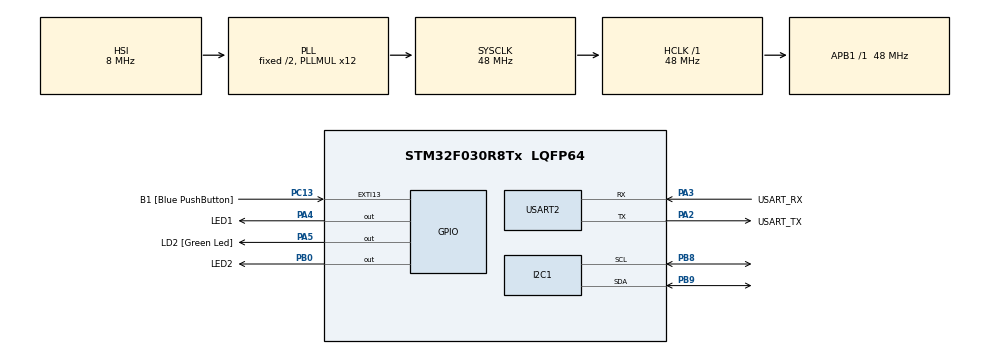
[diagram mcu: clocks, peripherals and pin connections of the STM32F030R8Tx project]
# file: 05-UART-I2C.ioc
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Dma.Request0=USART2_RX
Dma.USART2_RX.0.Direction=DMA_PERIPH_TO_MEMORY
Dma.USART2_RX.0.Instance=DMA1_Channel5
Dma.USART2_RX.0.MemDataAlignment=DMA_MDATAALIGN_BYTE
Dma.USART2_RX.0.MemInc=DMA_MINC_ENABLE
Dma.USART2_RX.0.Mode=DMA_CIRCULAR
Dma.USART2_RX.0.PeriphDataAlignment=DMA_PDATAALIGN_BYTE
Dma.USART2_RX.0.PeriphInc=DMA_PINC_DISABLE
Dma.USART2_RX.0.Priority=DMA_PRIORITY_LOW
I2C1.Timing=0x00201D2B
Mcu.Family=STM32F0
Mcu.Name=STM32F030R8Tx
Mcu.Package=LQFP64
NVIC.DMA1_Channel4_5_IRQn=true\:0\:0\:false\:false\:true\:false\:true\:true
PA13.GPIO_Label=TMS
PA13.Mode=Serial_Wire
PA13.Signal=SYS_SWDIO
PA14.GPIO_Label=TCK
PA14.Mode=Serial_Wire
PA14.Signal=SYS_SWCLK
PA2.GPIO_Label=USART_TX
PA2.GPIO_Mode=GPIO_MODE_AF_PP
PA2.GPIO_PuPd=GPIO_NOPULL
PA2.GPIO_Speed=GPIO_SPEED_FREQ_LOW
PA2.Mode=Asynchronous
PA2.Signal=USART2_TX
PA3.GPIO_Label=USART_RX
PA3.GPIO_Mode=GPIO_MODE_AF_PP
PA3.GPIO_PuPd=GPIO_NOPULL
PA3.GPIO_Speed=GPIO_SPEED_FREQ_LOW
PA3.Mode=Asynchronous
PA3.Signal=USART2_RX
PA4.GPIO_Label=LED1
PA4.Signal=GPIO_Output
PA5.GPIO_Label=LD2 [Green Led]
PA5.GPIO_Mode=GPIO_MODE_OUTPUT_PP
PA5.GPIO_PuPd=GPIO_NOPULL
PA5.GPIO_Speed=GPIO_SPEED_FREQ_LOW
PA5.Signal=GPIO_Output
PB0.GPIO_Label=LED2
PB0.Signal=GPIO_Output
PB8.Mode=I2C
PB8.Signal=I2C1_SCL
PB9.Mode=I2C
PB9.Signal=I2C1_SDA
PC13.GPIO_Label=B1 [Blue PushButton]
PC13.GPIO_ModeDefaultEXTI=GPIO_MODE_IT_FALLING
PC13.Signal=GPXTI13
PC14-OSC32_IN.Mode=LSE-External-Oscillator
PC14-OSC32_IN.Signal=RCC_OSC32_IN
PC15-OSC32_OUT.Mode=LSE-External-Oscillator
PC15-OSC32_OUT.Signal=RCC_OSC32_OUT
PF0-OSC_IN.Mode=HSE-External-Clock-Source
PF0-OSC_IN.Signal=RCC_OSC_IN
PF1-OSC_OUT.Signal=RCC_OSC_OUT
ProjectManager.HeapSize=0x200
ProjectManager.StackSize=0x400
ProjectManager.TargetToolchain=STM32CubeIDE
RCC.AHBFreq_Value=48000000
RCC.APB1Freq_Value=48000000
RCC.APB1TimFreq_Value=48000000
RCC.HCLKFreq_Value=48000000
RCC.PLLMUL=RCC_PLL_MUL12
RCC.SYSCLKFreq_VALUE=48000000
RCC.SYSCLKSource=RCC_SYSCLKSOURCE_PLLCLK
USART2.VirtualMode-Asynchronous=VM_ASYNC
board=NUCLEO-F030R8

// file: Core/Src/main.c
/* USER CODE BEGIN Header */
/**
  ******************************************************************************
  * @file           : main.c
  * @brief          : Main program body
  ******************************************************************************
  * @attention
  *
  * Copyright (c) 2024 STMicroelectronics.
  * All rights reserved.
  *
  * This software is licensed under terms that can be found in the LICENSE file
  * in the root directory of this software component.
  * If no LICENSE file comes with this software, it is provided AS-IS.
  *
  ******************************************************************************
  */
/* USER CODE END Header */
#include "main.h"

/* USER CODE BEGIN Includes */

#include <string.h>
#include <stdio.h>

/* USER CODE END Includes */

I2C_HandleTypeDef hi2c1;

UART_HandleTypeDef huart2;
DMA_HandleTypeDef hdma_usart2_rx;

/* USER CODE BEGIN PV */
#define RX_BUFFER_LEN 64	//how much memory to allocate for circular DMA buffer
#define CMD_BUFFER_LEN 128
static uint8_t uart_rx_buf[RX_BUFFER_LEN];	//array that represents that buffer
static volatile uint16_t uart_rx_read_ptr = 0;	//initialize it to zero in DMA memory (so it starts at start), volatile - it will be used internally for different context
#define uart_rx_write_ptr (RX_BUFFER_LEN - hdma_usart2_rx.Instance->CNDTR)	//locates where was the last point written by DMA

#define EEPROM_ADDR 0xA0

/* USER CODE END PV */

void SystemClock_Config(void);
static void MX_GPIO_Init(void);
static void MX_DMA_Init(void);
static void MX_USART2_UART_Init(void);
static void MX_I2C1_Init(void);

/* USER CODE BEGIN 0 */

static void uart_process_command(char *cmd)
{
	//printf("%s\n", cmd);

	char *token;
	uint8_t valueR = 0;
	uint8_t valueW = 0;
	uint16_t addr = 0;

	token = strtok(cmd, " ");

	if (strcasecmp(token, "HELLO") == 0)
	{
		printf("Communication OK\n");
	}

	else if (strcasecmp(token, "LED1") == 0)
	{
		token = strtok(NULL, " ");
		if (strcasecmp(token, "ON") == 0)
		{
			HAL_GPIO_WritePin(LED1_GPIO_Port, LED1_Pin, SET);
		}
		else if (strcasecmp(token, "OFF") == 0)
		{
			HAL_GPIO_WritePin(LED1_GPIO_Port, LED1_Pin, RESET);
		}
		printf("OK\n");
	}

	else if (strcasecmp(token, "LED2") == 0)
	{
		token = strtok(NULL, " ");
		if (strcasecmp(token, "ON") == 0)
		{
			HAL_GPIO_WritePin(LED2_GPIO_Port, LED2_Pin, SET);
		}
		else if (strcasecmp(token, "OFF") == 0)
		{
			HAL_GPIO_WritePin(LED2_GPIO_Port, LED2_Pin, RESET);
		}
		printf("OK\n");
	}

	else if (strcasecmp(token, "READ") == 0)
	{
		token = strtok(NULL, " ");
		addr = atoi(token);

		HAL_I2C_Mem_Read(&hi2c1, EEPROM_ADDR, addr, I2C_MEMADD_SIZE_16BIT, &valueR, 1, 1000);

		while (HAL_I2C_IsDeviceReady(&hi2c1, EEPROM_ADDR, 300, 1000) == HAL_TIMEOUT){}

		printf("Address 0x%.4x = 0x%.2x \n", addr, valueR);
	}

	else if (strcasecmp(token, "WRITE") == 0)
	{
		token = strtok(NULL, " ");
		addr = atoi(token);

		token = strtok(NULL, " ");
		valueW = atoi(token);

		printf("writing %d to memory address %.4x\n", valueW, addr);

		HAL_I2C_Mem_Write(&hi2c1, EEPROM_ADDR, addr, I2C_MEMADD_SIZE_16BIT, &valueW, 1, 1000);

		while (HAL_I2C_IsDeviceReady(&hi2c1, EEPROM_ADDR, 300, 1000) == HAL_TIMEOUT){}

		printf("OK\n");
	}

	else if (strcasecmp(token, "DUMP") == 0)
	{
		for (uint8_t i = 0; i < 16; i++)
		{
			HAL_I2C_Mem_Read(&hi2c1, EEPROM_ADDR, i, I2C_MEMADD_SIZE_16BIT, &valueR, 1, 1000);
			printf("%.2X ", valueR);

			if (i == 7)	printf("\n");
		}
		printf("\n");
	}

	else if (strcasecmp(token, "STATUS") == 0)
	{
		printf("LED1 status: %d  LED2 status: %d \n", HAL_GPIO_ReadPin(LED1_GPIO_Port, LED1_Pin), HAL_GPIO_ReadPin(LED2_GPIO_Port, LED2_Pin));
	}

}

static void uart_byte_available(uint8_t c)
{
	 static uint16_t cnt;
	 static char data[CMD_BUFFER_LEN];

	 if (cnt < CMD_BUFFER_LEN && c >= 32 && c <= 126) data[cnt++] = c;

	 if ((c == '\n' || c == '\r') && cnt > 0) {
		 data[cnt] = '\0';
		 uart_process_command(data);
		 cnt = 0;
	 }
}

/* USER CODE END 0 */

int main(void)
{

  /* MCU Configuration--------------------------------------------------------*/

  /* Reset of all peripherals, Initializes the Flash interface and the Systick. */
  HAL_Init();

  /* Configure the system clock */
  SystemClock_Config();

  /* Initialize all configured peripherals */
  MX_GPIO_Init();
  MX_DMA_Init();
  MX_USART2_UART_Init();
  MX_I2C1_Init();
  /* USER CODE BEGIN 2 */

  HAL_UART_Receive_DMA(&huart2, uart_rx_buf, RX_BUFFER_LEN);	//start the DMA reception

  /* USER CODE END 2 */

  /* Infinite loop */
  /* USER CODE BEGIN WHILE */
  while (1)
  {

	  while (uart_rx_read_ptr != uart_rx_write_ptr) {
		   uint8_t b = uart_rx_buf[uart_rx_read_ptr];
		   // increase read pointer
		   if (++uart_rx_read_ptr >= RX_BUFFER_LEN) uart_rx_read_ptr = 0;
		   // process every received byte with the RX state machine
		   uart_byte_available(b);
	  }

	  //uint8_t c;
	  //HAL_UART_Receive(&huart2, &c, 1, HAL_MAX_DELAY);
	  //HAL_UART_Transmit(&huart2, &c, 1, HAL_MAX_DELAY);

    /* USER CODE END WHILE */

  }
}

void SystemClock_Config(void)
{
  RCC_OscInitTypeDef RCC_OscInitStruct = {0};
  RCC_ClkInitTypeDef RCC_ClkInitStruct = {0};
  RCC_PeriphCLKInitTypeDef PeriphClkInit = {0};

  /** Initializes the RCC Oscillators according to the specified parameters
  * in the RCC_OscInitTypeDef structure.
  */
  RCC_OscInitStruct.OscillatorType = RCC_OSCILLATORTYPE_HSI;
  RCC_OscInitStruct.HSIState = RCC_HSI_ON;
  RCC_OscInitStruct.HSICalibrationValue = RCC_HSICALIBRATION_DEFAULT;
  RCC_OscInitStruct.PLL.PLLState = RCC_PLL_ON;
  RCC_OscInitStruct.PLL.PLLSource = RCC_PLLSOURCE_HSI;
  RCC_OscInitStruct.PLL.PLLMUL = RCC_PLL_MUL12;
  RCC_OscInitStruct.PLL.PREDIV = RCC_PREDIV_DIV1;
  if (HAL_RCC_OscConfig(&RCC_OscInitStruct) != HAL_OK)
  {
    Error_Handler();
  }

  /** Initializes the CPU, AHB and APB buses clocks
  */
  RCC_ClkInitStruct.ClockType = RCC_CLOCKTYPE_HCLK|RCC_CLOCKTYPE_SYSCLK
                              |RCC_CLOCKTYPE_PCLK1;
  RCC_ClkInitStruct.SYSCLKSource = RCC_SYSCLKSOURCE_PLLCLK;
  RCC_ClkInitStruct.AHBCLKDivider = RCC_SYSCLK_DIV1;
  RCC_ClkInitStruct.APB1CLKDivider = RCC_HCLK_DIV1;

  if (HAL_RCC_ClockConfig(&RCC_ClkInitStruct, FLASH_LATENCY_1) != HAL_OK)
  {
    Error_Handler();
  }
  PeriphClkInit.PeriphClockSelection = RCC_PERIPHCLK_I2C1;
  PeriphClkInit.I2c1ClockSelection = RCC_I2C1CLKSOURCE_HSI;
  if (HAL_RCCEx_PeriphCLKConfig(&PeriphClkInit) != HAL_OK)
  {
    Error_Handler();
  }
}

static void MX_I2C1_Init(void)
{

  hi2c1.Instance = I2C1;
  hi2c1.Init.Timing = 0x00201D2B;
  hi2c1.Init.OwnAddress1 = 0;
  hi2c1.Init.AddressingMode = I2C_ADDRESSINGMODE_7BIT;
  hi2c1.Init.DualAddressMode = I2C_DUALADDRESS_DISABLE;
  hi2c1.Init.OwnAddress2 = 0;
  hi2c1.Init.OwnAddress2Masks = I2C_OA2_NOMASK;
  hi2c1.Init.GeneralCallMode = I2C_GENERALCALL_DISABLE;
  hi2c1.Init.NoStretchMode = I2C_NOSTRETCH_DISABLE;
  if (HAL_I2C_Init(&hi2c1) != HAL_OK)
  {
    Error_Handler();
  }

  /** Configure Analogue filter
  */
  if (HAL_I2CEx_ConfigAnalogFilter(&hi2c1, I2C_ANALOGFILTER_ENABLE) != HAL_OK)
  {
    Error_Handler();
  }

  /** Configure Digital filter
  */
  if (HAL_I2CEx_ConfigDigitalFilter(&hi2c1, 0) != HAL_OK)
  {
    Error_Handler();
  }

}

static void MX_USART2_UART_Init(void)
{

  huart2.Instance = USART2;
  huart2.Init.BaudRate = 38400;
  huart2.Init.WordLength = UART_WORDLENGTH_8B;
  huart2.Init.StopBits = UART_STOPBITS_1;
  huart2.Init.Parity = UART_PARITY_NONE;
  huart2.Init.Mode = UART_MODE_TX_RX;
  huart2.Init.HwFlowCtl = UART_HWCONTROL_NONE;
  huart2.Init.OverSampling = UART_OVERSAMPLING_16;
  huart2.Init.OneBitSampling = UART_ONE_BIT_SAMPLE_DISABLE;
  huart2.AdvancedInit.AdvFeatureInit = UART_ADVFEATURE_NO_INIT;
  if (HAL_UART_Init(&huart2) != HAL_OK)
  {
    Error_Handler();
  }

}

static void MX_DMA_Init(void)
{

  /* DMA controller clock enable */
  __HAL_RCC_DMA1_CLK_ENABLE();

  /* DMA interrupt init */
  /* DMA1_Channel4_5_IRQn interrupt configuration */
  HAL_NVIC_SetPriority(DMA1_Channel4_5_IRQn, 0, 0);
  HAL_NVIC_EnableIRQ(DMA1_Channel4_5_IRQn);

}

static void MX_GPIO_Init(void)
{
  GPIO_InitTypeDef GPIO_InitStruct = {0};

  /* GPIO Ports Clock Enable */
  __HAL_RCC_GPIOC_CLK_ENABLE();
  __HAL_RCC_GPIOF_CLK_ENABLE();
  __HAL_RCC_GPIOA_CLK_ENABLE();
  __HAL_RCC_GPIOB_CLK_ENABLE();

  /*Configure GPIO pin Output Level */
  HAL_GPIO_WritePin(GPIOA, LED1_Pin|LD2_Pin, GPIO_PIN_RESET);

  /*Configure GPIO pin Output Level */
  HAL_GPIO_WritePin(LED2_GPIO_Port, LED2_Pin, GPIO_PIN_RESET);

  /*Configure GPIO pin : B1_Pin */
  GPIO_InitStruct.Pin = B1_Pin;
  GPIO_InitStruct.Mode = GPIO_MODE_IT_FALLING;
  GPIO_InitStruct.Pull = GPIO_NOPULL;
  HAL_GPIO_Init(B1_GPIO_Port, &GPIO_InitStruct);

  /*Configure GPIO pins : LED1_Pin LD2_Pin */
  GPIO_InitStruct.Pin = LED1_Pin|LD2_Pin;
  GPIO_InitStruct.Mode = GPIO_MODE_OUTPUT_PP;
  GPIO_InitStruct.Pull = GPIO_NOPULL;
  GPIO_InitStruct.Speed = GPIO_SPEED_FREQ_LOW;
  HAL_GPIO_Init(GPIOA, &GPIO_InitStruct);

  /*Configure GPIO pin : LED2_Pin */
  GPIO_InitStruct.Pin = LED2_Pin;
  GPIO_InitStruct.Mode = GPIO_MODE_OUTPUT_PP;
  GPIO_InitStruct.Pull = GPIO_NOPULL;
  GPIO_InitStruct.Speed = GPIO_SPEED_FREQ_LOW;
  HAL_GPIO_Init(LED2_GPIO_Port, &GPIO_InitStruct);

}

/* USER CODE BEGIN 4 */

//defining standart output
int _write(int file, char const *buf, int n)
{
	/* stdout redirection to UART2 */
	HAL_UART_Transmit(&huart2, (uint8_t*)(buf), n, HAL_MAX_DELAY);
	return n;
}

/* USER CODE END 4 */

void Error_Handler(void)
{
  __disable_irq();
  while (1)
  {
  }
}
